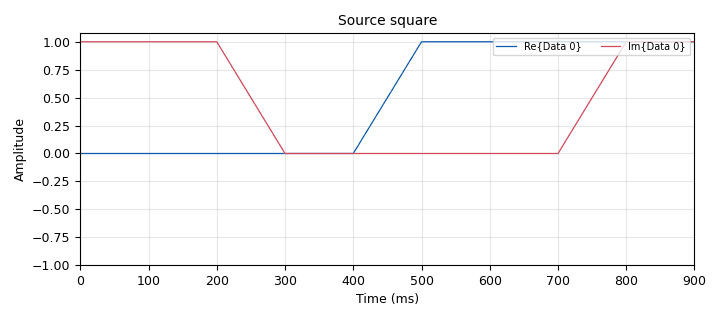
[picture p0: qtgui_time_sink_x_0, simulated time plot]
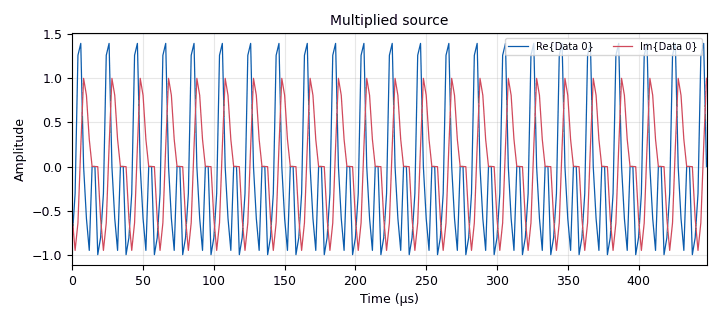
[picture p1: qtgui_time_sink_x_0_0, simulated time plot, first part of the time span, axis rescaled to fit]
options:
  parameters:
    author: yabool2001
    copyright: maciej.zemlo@gmail.pl
    description: Prosty modulator ASK
    generate_options: qt_gui
    id: test_ask_01
    output_language: python
    title: Test of ASK modulator
  states: {}

blocks:
- name: a
  id: variable
  parameters:
    value: '1'
  states: {}
- name: fc
  id: variable
  parameters:
    value: '50000'
  states: {}
- name: samp_rate
  id: variable
  parameters:
    value: fc*10
  states: {}
- name: symbol_rate
  id: variable
  parameters:
    value: '5000'
  states: {}
- name: analog_sig_source_x_0
  id: analog_sig_source_x
  parameters:
    amp: '1'
    freq: '1'
    offset: '0'
    phase: '0'
    samp_rate: '10'
    type: complex
    waveform: analog.GR_SQR_WAVE
  states: {}
- name: analog_sig_source_x_0_0
  id: analog_sig_source_x
  parameters:
    amp: '1'
    freq: fc
    offset: '0'
    phase: '0'
    samp_rate: samp_rate
    type: complex
    waveform: analog.GR_COS_WAVE
  states: {}
- name: blocks_multiply_xx_0
  id: blocks_multiply_xx
  parameters:
    type: complex
  states: {}
- name: blocks_throttle2_0
  id: blocks_throttle2
  parameters:
    samples_per_second: samp_rate
    type: complex
  states: {}
- name: qtgui_time_sink_x_0
  id: qtgui_time_sink_x
  parameters:
    name: '"Source square"'
    size: '10'
    srate: '10'
    type: complex
  states: {}
- name: qtgui_time_sink_x_0_0
  id: qtgui_time_sink_x
  parameters:
    name: '"Multiplied source"'
    size: '1024'
    srate: samp_rate
    type: complex
  states: {}

connections:
- [analog_sig_source_x_0, '0', blocks_multiply_xx_0, '0']
- [analog_sig_source_x_0, '0', qtgui_time_sink_x_0, '0']
- [analog_sig_source_x_0_0, '0', blocks_multiply_xx_0, '1']
- [blocks_multiply_xx_0, '0', blocks_throttle2_0, '0']
- [blocks_throttle2_0, '0', qtgui_time_sink_x_0_0, '0']

metadata:
  file_format: 1
  grc_version: 3.10.10.0
